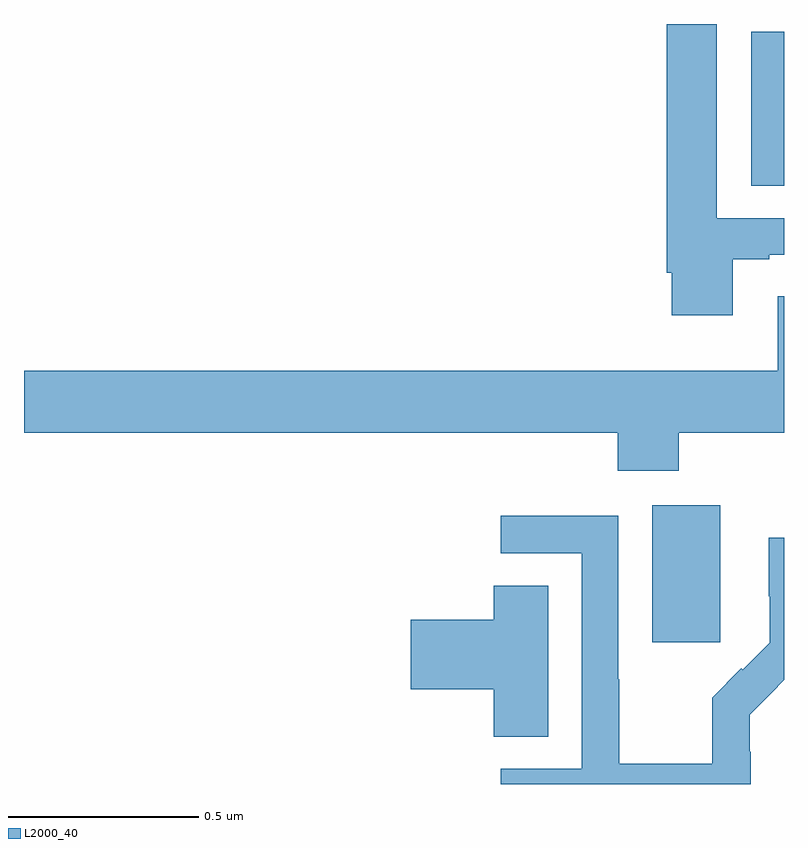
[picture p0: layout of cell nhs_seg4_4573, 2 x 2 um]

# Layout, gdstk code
import gdstk
lib = gdstk.Library(unit=1e-6, precision=1e-09)
def R(c, l, rs):  # rectangles x0, y0, x1, y1
    for r in rs: c.add(gdstk.rectangle(r[:2], r[2:], *l))
def P(c, l, *ps):  # polygons
    for p in ps: c.add(gdstk.Polygon(p, *l))
L2000_40 = (2000, 40)

nhs_seg4_4573 = lib.new_cell('nhs_seg4_4573')
R(nhs_seg4_4573, L2000_40, [(168.653,792.273,168.832,792.634), (168.914,793.474,169,793.879)])
P(nhs_seg4_4573, L2000_40, [(168.865,793.281),(168.961,793.281),(168.961,793.293),(169,793.293),(169,793.389),(168.823,793.389),(168.823,793.9),(168.692,793.9),(168.692,793.246),(168.704,793.246),(168.704,793.134),(168.865,793.134)],
  [(168.723,792.824),(169,792.824),(169,793.183),(168.983,793.183),(168.983,792.988),(167,792.988),(167,792.824),(168.563,792.824),(168.563,792.725),(168.723,792.725)],
  [(168.912,791.985),(168.91,791.985),(168.91,792.082),(168.984,792.156),(168.983,792.157),(169,792.174),(169,792.548),(168.96,792.548),(168.96,792.394),(168.962,792.394),(168.962,792.272),(168.891,792.201),(168.888,792.204),(168.811,792.127),(168.811,791.953),(168.567,791.953),(168.567,792.176),(168.564,792.176),(168.564,792.606),(168.255,792.606),(168.255,792.507),(168.468,792.507),(168.468,791.94),(168.255,791.94),(168.255,791.9),(168.912,791.9)],
  [(168.379,792.422),(168.236,792.422),(168.236,792.332),(168.018,792.332),(168.018,792.149),(168.236,792.149),(168.236,792.025),(168.379,792.025)])

lib.write_gds('nhs_seg4_4573.gds')
